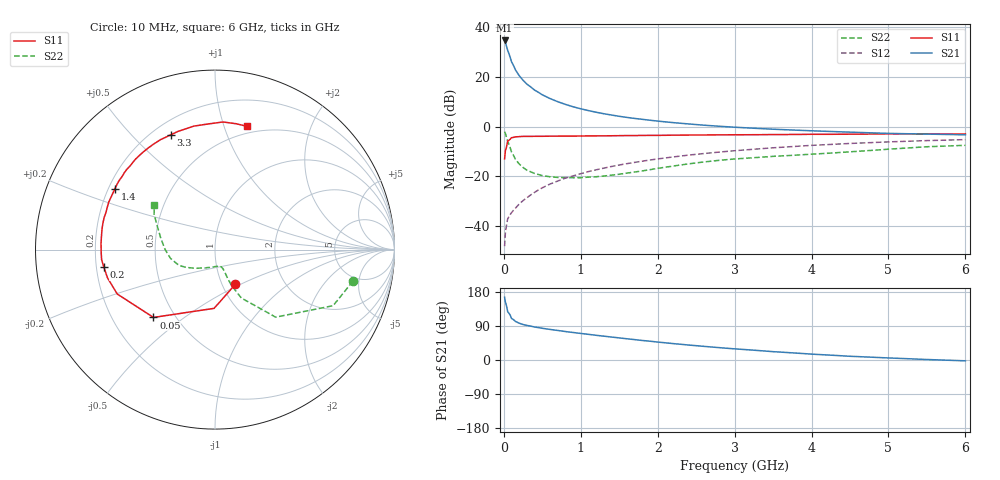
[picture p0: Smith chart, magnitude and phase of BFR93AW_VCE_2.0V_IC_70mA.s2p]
! (c) 2017  Infineon Technologies AG, Munich
! Infineon Technologies  Discrete & RF Semiconductors
! BFR93AW
! VCE =  2.0 V,  IC =  70 mA
! Common Emitter S-Parameters:  Jan 2017
# GHz  S  MA  R  50
!  f  S11  S21  S12  S22
! GHz  MAG  ANG  MAG  ANG  MAG  ANG  MAG  ANG
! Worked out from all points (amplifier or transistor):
!   77 points, 10 MHz to 6 GHz, reference 50 ohm
!   highest |S21| = 34.5 dB at 10 MHz (marker M1)
!   |S21| within 3 dB of that: start of sweep to 40.67 MHz
!   unconditionally stable (mu >= 1): 165.7 MHz to 3.961 GHz; 4.061 GHz to 4.787 GHz; 5.516 GHz to end of sweep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
!   at 130 MHz: K = 0.89, MSG = 28.8 dB, |S12| = -33.4 dB
!   at 2.2 GHz: K = 1.10, MAG = 5.0 dB, |S12| = -12.2 dB
!   at 6 GHz: K = 1.00, MAG = 0.6 dB, |S12| = -5.2 dB
!   S11 on the Smith chart (normalised r, x): 10 MHz: 1.15, -0.47; 50 MHz: 0.38, -0.39; 200 MHz: 0.23, -0.07; 1.4 GHz: 0.23, +0.27; 3.3 GHz: 0.27, +0.65; 6 GHz: 0.43, +1.20
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0.01  0.2243 -59.6  53.02 165.6  0.004 67.8  0.7882 -12.9
0.02  0.3275 -90.9  49.14 153.0  0.0074 70.4  0.7286 -25.4
0.05  0.5101 -132.2  33.58 127.4  0.0141 53.4  0.5057 -48.1
0.1  0.598 -155.5  19.82 109.7  0.0188 55.4  0.3079 -61.4
0.15  0.6194 -165.3  13.72 101.9  0.023 58.5  0.2209 -65.3
0.2  0.6272 -171.1  10.44 97.1  0.028 62.6  0.1771 -66.2
0.25  0.6343 -175.0  8.434 93.6  0.0328 64.6  0.1511 -66.4
0.3  0.6343 -178.2  7.058 91.2  0.0373 66.5  0.1329 -66.7
0.4  0.6359 177.0  5.363 87.0  0.048 69.7  0.1144 -67.4
0.5  0.6369 173.3  4.32 83.7  0.0591 70.8  0.1039 -69.4
0.6  0.64 169.6  3.638 80.7  0.0702 71.9  0.0983 -72.6
0.7  0.6417 166.9  3.143 78.0  0.0808 72.7  0.0954 -75.6
0.9  0.6418 161.1  2.486 72.6  0.1023 71.8  0.0942 -84.9
1.1  0.6485 155.9  2.083 67.7  0.1251 71.1  0.0967 -94.2
1.4  0.6525 148.8  1.698 60.6  0.1582 68.5  0.1059 -109.6
1.7  0.6586 141.9  1.452 53.8  0.1909 65.8  0.1224 -123.1
2.1  0.6671 133.5  1.239 45.4  0.2346 61.4  0.1529 -137.5
3.1  0.6835 114.6  0.95 28.0  0.3362 49.8  0.2288 -160.7
3.3  0.6854 111.1  0.915 25.1  0.355 47.4  0.24 -164.9
4.1  0.6979 98.2  0.81 14.4  0.4261 37.8  0.2844 176.8
5.1  0.7115 85.2  0.723 4.6  0.4975 25.9  0.3592 155.4
6  0.7093 75.5  0.682 -2.2  0.5464 15.9  0.4196 143.6
